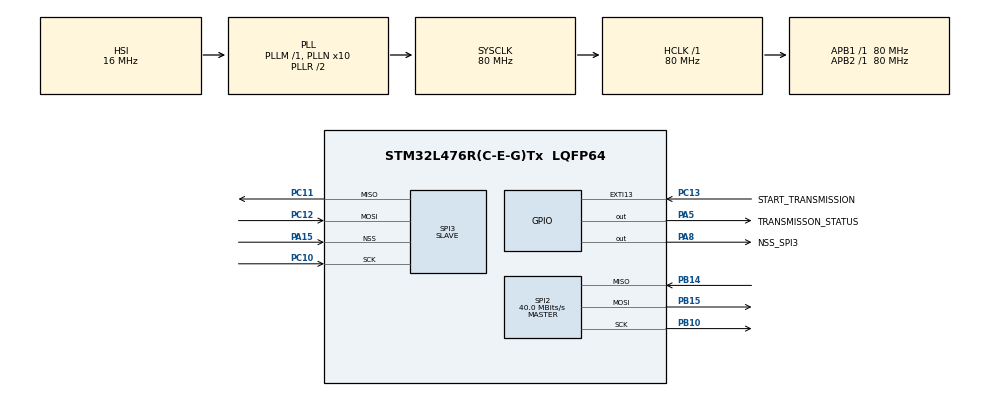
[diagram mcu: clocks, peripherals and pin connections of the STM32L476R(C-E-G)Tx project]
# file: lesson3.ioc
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Mcu.Family=STM32L4
Mcu.Name=STM32L476R(C-E-G)Tx
Mcu.Package=LQFP64
NVIC.EXTI15_10_IRQn=true\:0\:0\:false\:false\:true\:true\:true\:true
NVIC.PriorityGroup=NVIC_PRIORITYGROUP_4
NVIC.SPI2_IRQn=true\:0\:0\:false\:false\:true\:true\:true\:true
NVIC.SPI3_IRQn=true\:0\:0\:false\:false\:true\:true\:true\:true
PA13\ (JTMS-SWDIO).GPIO_Label=TMS
PA13\ (JTMS-SWDIO).Signal=SYS_JTMS-SWDIO
PA14\ (JTCK-SWCLK).GPIO_Label=TCK
PA14\ (JTCK-SWCLK).Signal=SYS_JTCK-SWCLK
PA15\ (JTDI).Mode=NSS_Signal_Hard_Input
PA15\ (JTDI).Signal=SPI3_NSS
PA2.GPIO_Label=USART_TX
PA2.GPIO_Mode=GPIO_MODE_AF_PP
PA2.GPIO_PuPd=GPIO_NOPULL
PA2.GPIO_Speed=GPIO_SPEED_FREQ_VERY_HIGH
PA2.Signal=USART2_TX
PA3.GPIO_Label=USART_RX
PA3.GPIO_Mode=GPIO_MODE_AF_PP
PA3.GPIO_PuPd=GPIO_NOPULL
PA3.GPIO_Speed=GPIO_SPEED_FREQ_VERY_HIGH
PA3.Signal=USART2_RX
PA5.GPIO_Label=TRANSMISSON_STATUS
PA5.GPIO_ModeDefaultOutputPP=GPIO_MODE_OUTPUT_PP
PA5.GPIO_PuPd=GPIO_NOPULL
PA5.GPIO_Speed=GPIO_SPEED_FREQ_LOW
PA5.Signal=GPIO_Output
PA8.GPIO_Label=NSS_SPI3
PA8.PinState=GPIO_PIN_SET
PA8.Signal=GPIO_Output
PB10.GPIO_PuPd=GPIO_NOPULL
PB10.Mode=Full_Duplex_Master
PB10.Signal=SPI2_SCK
PB14.Mode=Full_Duplex_Master
PB14.Signal=SPI2_MISO
PB15.Mode=Full_Duplex_Master
PB15.Signal=SPI2_MOSI
PB3\ (JTDO-TRACESWO).GPIO_Label=SWO
PB3\ (JTDO-TRACESWO).Signal=SYS_JTDO-SWO
PC10.GPIO_PuPd=GPIO_PULLDOWN
PC10.Mode=Full_Duplex_Slave
PC10.Signal=SPI3_SCK
PC11.Mode=Full_Duplex_Slave
PC11.Signal=SPI3_MISO
PC12.Mode=Full_Duplex_Slave
PC12.Signal=SPI3_MOSI
PC13.GPIO_Label=START_TRANSMISSION
PC13.GPIO_ModeDefaultEXTI=GPIO_MODE_IT_FALLING
PC13.GPIO_PuPd=GPIO_NOPULL
PC13.Signal=GPXTI13
PC14-OSC32_IN\ (PC14).Signal=RCC_OSC32_IN
PC15-OSC32_OUT\ (PC15).Signal=RCC_OSC32_OUT
PH0-OSC_IN\ (PH0).Signal=RCC_OSC_IN
PH1-OSC_OUT\ (PH1).Signal=RCC_OSC_OUT
ProjectManager.HeapSize=0x200
ProjectManager.StackSize=0x400
ProjectManager.TargetToolchain=STM32CubeIDE
RCC.ADCFreq_Value=64000000
RCC.AHBFreq_Value=80000000
RCC.APB1Freq_Value=80000000
RCC.APB1TimFreq_Value=80000000
RCC.APB2Freq_Value=80000000
RCC.APB2TimFreq_Value=80000000
RCC.CortexFreq_Value=80000000
RCC.HCLKFreq_Value=80000000
RCC.HSE_VALUE=8000000
RCC.HSI_VALUE=16000000
RCC.LSE_VALUE=32768
RCC.MSI_VALUE=4000000
RCC.PLLN=10
RCC.PLLSourceVirtual=RCC_PLLSOURCE_HSI
RCC.PREFETCH_ENABLE=1
RCC.SYSCLKFreq_VALUE=80000000
RCC.SYSCLKSource=RCC_SYSCLKSOURCE_PLLCLK
RCC.USBFreq_Value=64000000
RCC.VCOOutputFreq_Value=160000000
SPI2.BaudRatePrescaler=SPI_BAUDRATEPRESCALER_2
SPI2.CalculateBaudRate=40.0 MBits/s
SPI2.DataSize=SPI_DATASIZE_8BIT
SPI2.Direction=SPI_DIRECTION_2LINES
SPI2.Mode=SPI_MODE_MASTER
SPI2.VirtualType=VM_MASTER
SPI3.DataSize=SPI_DATASIZE_8BIT
SPI3.Direction=SPI_DIRECTION_2LINES
SPI3.Mode=SPI_MODE_SLAVE
SPI3.VirtualNSS=VM_NSSHARD
SPI3.VirtualType=VM_SLAVE
board=NUCLEO-L476RG

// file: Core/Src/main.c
/* USER CODE BEGIN Header */
/**
 ******************************************************************************
 * @file           : main.c
 * @brief          : Main program body
 ******************************************************************************
 * @attention
 *
 * Copyright (c) 2026 STMicroelectronics.
 * All rights reserved.
 *
 * This software is licensed under terms that can be found in the LICENSE file
 * in the root directory of this software component.
 * If no LICENSE file comes with this software, it is provided AS-IS.
 *
 ******************************************************************************
 */
/* USER CODE END Header */
#include "main.h"

SPI_HandleTypeDef hspi2;
SPI_HandleTypeDef hspi3;

/* USER CODE BEGIN PV */
volatile uint8_t start_transmission = 0;
uint8_t transmitted_data = 0xA3;
uint8_t received_data = 0;
/* USER CODE END PV */

void SystemClock_Config(void);
static void MX_GPIO_Init(void);
static void MX_SPI2_Init(void);
static void MX_SPI3_Init(void);

int main(void) {

	/* MCU Configuration--------------------------------------------------------*/

	/* Reset of all peripherals, Initializes the Flash interface and the Systick. */
	HAL_Init();

	/* Configure the system clock */
	SystemClock_Config();

	/* Initialize all configured peripherals */
	MX_GPIO_Init();
	MX_SPI2_Init();
	MX_SPI3_Init();
	/* USER CODE BEGIN 2 */
	HAL_SPI_Receive_IT(&hspi3, &received_data, sizeof(transmitted_data));
	/* USER CODE END 2 */

	/* Infinite loop */
	/* USER CODE BEGIN WHILE */
	while (1) {
		// Some data was transmitted
		if (received_data != 0) {
			// Right data, turn on led, wait 1 sec
			if (transmitted_data == received_data) {
				HAL_GPIO_WritePin(TRANSMISSON_STATUS_GPIO_Port,
				TRANSMISSON_STATUS_Pin, GPIO_PIN_SET);
				HAL_Delay(1000);
			}
			// Reset data anyway
			received_data = 0;
			// Turn off led
			HAL_GPIO_WritePin(TRANSMISSON_STATUS_GPIO_Port,
						TRANSMISSON_STATUS_Pin, GPIO_PIN_RESET);
			// restart SPI3 receiving
			HAL_SPI_Receive_IT(&hspi3, &received_data,
					sizeof(transmitted_data));
		} else {
			HAL_GPIO_WritePin(TRANSMISSON_STATUS_GPIO_Port,
			TRANSMISSON_STATUS_Pin, GPIO_PIN_RESET);
		}

		if (start_transmission == 1) {

			HAL_GPIO_WritePin(NSS_SPI3_GPIO_Port, NSS_SPI3_Pin, GPIO_PIN_RESET);
			HAL_SPI_Transmit(&hspi2, &transmitted_data,
					sizeof(transmitted_data), 1);
			HAL_GPIO_WritePin(NSS_SPI3_GPIO_Port, NSS_SPI3_Pin, GPIO_PIN_SET);

			start_transmission = 0;
		}
		/* USER CODE END WHILE */

	}
}

void SystemClock_Config(void) {
	RCC_OscInitTypeDef RCC_OscInitStruct = { 0 };
	RCC_ClkInitTypeDef RCC_ClkInitStruct = { 0 };

	/** Configure the main internal regulator output voltage
	 */
	if (HAL_PWREx_ControlVoltageScaling(PWR_REGULATOR_VOLTAGE_SCALE1)
			!= HAL_OK) {
		Error_Handler();
	}

	/** Initializes the RCC Oscillators according to the specified parameters
	 * in the RCC_OscInitTypeDef structure.
	 */
	RCC_OscInitStruct.OscillatorType = RCC_OSCILLATORTYPE_HSI;
	RCC_OscInitStruct.HSIState = RCC_HSI_ON;
	RCC_OscInitStruct.HSICalibrationValue = RCC_HSICALIBRATION_DEFAULT;
	RCC_OscInitStruct.PLL.PLLState = RCC_PLL_ON;
	RCC_OscInitStruct.PLL.PLLSource = RCC_PLLSOURCE_HSI;
	RCC_OscInitStruct.PLL.PLLM = 1;
	RCC_OscInitStruct.PLL.PLLN = 10;
	RCC_OscInitStruct.PLL.PLLP = RCC_PLLP_DIV7;
	RCC_OscInitStruct.PLL.PLLQ = RCC_PLLQ_DIV2;
	RCC_OscInitStruct.PLL.PLLR = RCC_PLLR_DIV2;
	if (HAL_RCC_OscConfig(&RCC_OscInitStruct) != HAL_OK) {
		Error_Handler();
	}

	/** Initializes the CPU, AHB and APB buses clocks
	 */
	RCC_ClkInitStruct.ClockType = RCC_CLOCKTYPE_HCLK | RCC_CLOCKTYPE_SYSCLK
			| RCC_CLOCKTYPE_PCLK1 | RCC_CLOCKTYPE_PCLK2;
	RCC_ClkInitStruct.SYSCLKSource = RCC_SYSCLKSOURCE_PLLCLK;
	RCC_ClkInitStruct.AHBCLKDivider = RCC_SYSCLK_DIV1;
	RCC_ClkInitStruct.APB1CLKDivider = RCC_HCLK_DIV1;
	RCC_ClkInitStruct.APB2CLKDivider = RCC_HCLK_DIV1;

	if (HAL_RCC_ClockConfig(&RCC_ClkInitStruct, FLASH_LATENCY_4) != HAL_OK) {
		Error_Handler();
	}
}

static void MX_SPI2_Init(void) {

	/* SPI2 parameter configuration*/
	hspi2.Instance = SPI2;
	hspi2.Init.Mode = SPI_MODE_MASTER;
	hspi2.Init.Direction = SPI_DIRECTION_2LINES;
	hspi2.Init.DataSize = SPI_DATASIZE_8BIT;
	hspi2.Init.CLKPolarity = SPI_POLARITY_LOW;
	hspi2.Init.CLKPhase = SPI_PHASE_1EDGE;
	hspi2.Init.NSS = SPI_NSS_SOFT;
	hspi2.Init.BaudRatePrescaler = SPI_BAUDRATEPRESCALER_2;
	hspi2.Init.FirstBit = SPI_FIRSTBIT_MSB;
	hspi2.Init.TIMode = SPI_TIMODE_DISABLE;
	hspi2.Init.CRCCalculation = SPI_CRCCALCULATION_DISABLE;
	hspi2.Init.CRCPolynomial = 7;
	hspi2.Init.CRCLength = SPI_CRC_LENGTH_DATASIZE;
	hspi2.Init.NSSPMode = SPI_NSS_PULSE_ENABLE;
	if (HAL_SPI_Init(&hspi2) != HAL_OK) {
		Error_Handler();
	}

}

static void MX_SPI3_Init(void) {

	/* SPI3 parameter configuration*/
	hspi3.Instance = SPI3;
	hspi3.Init.Mode = SPI_MODE_SLAVE;
	hspi3.Init.Direction = SPI_DIRECTION_2LINES;
	hspi3.Init.DataSize = SPI_DATASIZE_8BIT;
	hspi3.Init.CLKPolarity = SPI_POLARITY_LOW;
	hspi3.Init.CLKPhase = SPI_PHASE_1EDGE;
	hspi3.Init.NSS = SPI_NSS_HARD_INPUT;
	hspi3.Init.FirstBit = SPI_FIRSTBIT_MSB;
	hspi3.Init.TIMode = SPI_TIMODE_DISABLE;
	hspi3.Init.CRCCalculation = SPI_CRCCALCULATION_DISABLE;
	hspi3.Init.CRCPolynomial = 7;
	hspi3.Init.CRCLength = SPI_CRC_LENGTH_DATASIZE;
	hspi3.Init.NSSPMode = SPI_NSS_PULSE_DISABLE;
	if (HAL_SPI_Init(&hspi3) != HAL_OK) {
		Error_Handler();
	}

}

static void MX_GPIO_Init(void) {
	GPIO_InitTypeDef GPIO_InitStruct = { 0 };

	/* GPIO Ports Clock Enable */
	__HAL_RCC_GPIOC_CLK_ENABLE();
	__HAL_RCC_GPIOH_CLK_ENABLE();
	__HAL_RCC_GPIOA_CLK_ENABLE();
	__HAL_RCC_GPIOB_CLK_ENABLE();

	/*Configure GPIO pin Output Level */
	HAL_GPIO_WritePin(TRANSMISSON_STATUS_GPIO_Port, TRANSMISSON_STATUS_Pin,
			GPIO_PIN_RESET);

	/*Configure GPIO pin Output Level */
	HAL_GPIO_WritePin(NSS_SPI3_GPIO_Port, NSS_SPI3_Pin, GPIO_PIN_SET);

	/*Configure GPIO pin : START_TRANSMISSION_Pin */
	GPIO_InitStruct.Pin = START_TRANSMISSION_Pin;
	GPIO_InitStruct.Mode = GPIO_MODE_IT_FALLING;
	GPIO_InitStruct.Pull = GPIO_NOPULL;
	HAL_GPIO_Init(START_TRANSMISSION_GPIO_Port, &GPIO_InitStruct);

	/*Configure GPIO pins : USART_TX_Pin USART_RX_Pin */
	GPIO_InitStruct.Pin = USART_TX_Pin | USART_RX_Pin;
	GPIO_InitStruct.Mode = GPIO_MODE_AF_PP;
	GPIO_InitStruct.Pull = GPIO_NOPULL;
	GPIO_InitStruct.Speed = GPIO_SPEED_FREQ_VERY_HIGH;
	GPIO_InitStruct.Alternate = GPIO_AF7_USART2;
	HAL_GPIO_Init(GPIOA, &GPIO_InitStruct);

	/*Configure GPIO pins : TRANSMISSON_STATUS_Pin NSS_SPI3_Pin */
	GPIO_InitStruct.Pin = TRANSMISSON_STATUS_Pin | NSS_SPI3_Pin;
	GPIO_InitStruct.Mode = GPIO_MODE_OUTPUT_PP;
	GPIO_InitStruct.Pull = GPIO_NOPULL;
	GPIO_InitStruct.Speed = GPIO_SPEED_FREQ_LOW;
	HAL_GPIO_Init(GPIOA, &GPIO_InitStruct);

	/* EXTI interrupt init*/
	HAL_NVIC_SetPriority(EXTI15_10_IRQn, 0, 0);
	HAL_NVIC_EnableIRQ(EXTI15_10_IRQn);

}

/* USER CODE BEGIN 4 */
void HAL_GPIO_EXTI_Callback(uint16_t GPIO_Pin) {
	if (GPIO_Pin == START_TRANSMISSION_Pin) {
		start_transmission = 1;
	}
}
/* USER CODE END 4 */

void Error_Handler(void) {
	__disable_irq();
	while (1) {
	}
}
